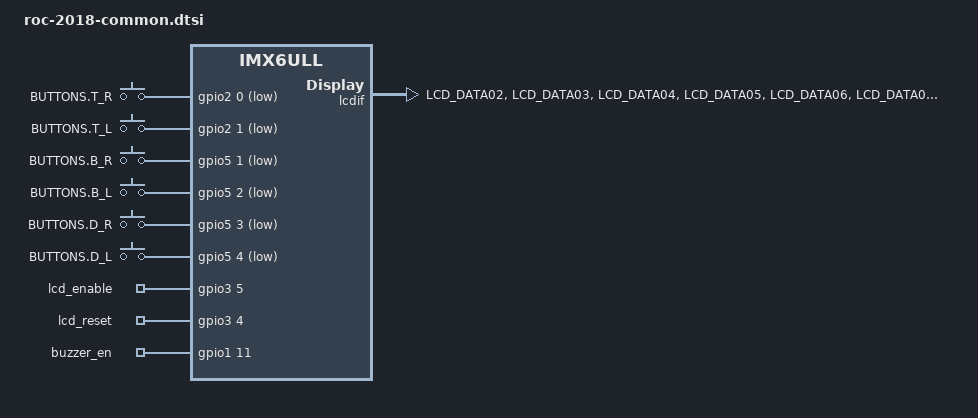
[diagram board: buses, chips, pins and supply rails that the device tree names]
/*
 * Copyright (C) 2020 CompeGPS Team S.L.
 * All rights reserved
 *
 */
/dts-v1/;

#include <dt-bindings/input/input.h>
#include "imx6ull.dtsi"
#include "imx6ul-imx6ull-var-dart-common.dtsi" // BUZZER PWM IS HERE
#include "wireless-murata-sd8987.dtsi"

/ {
	keys {
		compatible = "gpio-keys";
		pinctrl-names = "default";
		pinctrl-0 = <&pinctrl_keys>;

		button_tr {
			label = "BUTTONS.T_R";
			gpios = <&gpio2 0 GPIO_ACTIVE_LOW>;
			linux,code = <KEY_F1>;
			gpio-key,wakeup;
		};

		button_tl {
			label = "BUTTONS.T_L";
			gpios = <&gpio2 1 GPIO_ACTIVE_LOW>;
			linux,code = <KEY_F2>;
			gpio-key,wakeup;
		};

		button_br {
			label = "BUTTONS.B_R";
			gpios = <&gpio5 1 GPIO_ACTIVE_LOW>;
			linux,code = <KEY_F4>;
			gpio-key,wakeup;
		};

		button_bl {
			label = "BUTTONS.B_L";
			gpios = <&gpio5 2 GPIO_ACTIVE_LOW>;
			linux,code = <KEY_F3>;
			gpio-key,wakeup;
		};	

		button_dr {
			label = "BUTTONS.D_R";
			gpios = <&gpio5 3 GPIO_ACTIVE_LOW>;
			linux,code = <KEY_F5>;
			gpio-key,wakeup;
		};

		button_dl {
			label = "BUTTONS.D_L";
			gpios = <&gpio5 4 GPIO_ACTIVE_LOW>;
			linux,code = <KEY_F6>;
			gpio-key,wakeup;
		};	
	};

	init-gpios-roc {
		compatible = "gpio-leds";
		pinctrl-names = "default";
		pinctrl-0 = <&pinctrl_roc>;

		lcd_enable {
			label = "lcd_enable";
			gpios = <&gpio3 5 GPIO_ACTIVE_HIGH>;
			default-state = "on";
		};
		lcd_reset {
			label = "lcd_reset";
			gpios = <&gpio3 4 GPIO_ACTIVE_HIGH>;
			default-state = "on";
		};
		buzzer_en {
			label = "buzzer_en";
			gpios = <&gpio1 11 GPIO_ACTIVE_HIGH>;
			default-state = "off"; // Check consumption
		};
	};

};

&lcdif {
	pinctrl-names = "default";
	pinctrl-0 = <&pinctrl_lcdif_dat
		     &pinctrl_lcdif_ctrl>;
	display = <&display0>;
	status = "okay";

	display0: display {
		bits-per-pixel = <32>;
		bus-width = <24>;
		
		display-timings {
			native-mode = <&timing0>;
			timing0: timing0 {
				clock-frequency =<24000000>;
				hactive = <240>;
				vactive = <320>;
				hfront-porch = <10>;
				hback-porch = <8>;
				hsync-len = <32>;
				vback-porch = <13>;
				vfront-porch = <13>;
				vsync-len = <5>;
				hsync-active = <0>;
				vsync-active = <0>;
				de-active = <1>;
				pixelclk-active = <0>;
			};
		};
	};
};



&iomuxc {
	imx6ul-evk {	
		pinctrl_roc: rocgrp {
			fsl,pins = <
				MX6UL_PAD_JTAG_TMS__GPIO1_IO11		0x1b0b0	/* BUZZER_EN */
				MX6UL_PAD_LCD_RESET__GPIO3_IO04		0x1b0b1
				MX6UL_PAD_LCD_DATA00__GPIO3_IO05	0x1b0b1
			>;			
		};
		
		pinctrl_lcdif_ctrl: lcdifctrlgrp {
			fsl,pins = <
				MX6UL_PAD_LCD_CLK__LCDIF_CLK		0x79
				MX6UL_PAD_LCD_ENABLE__LCDIF_ENABLE	0x79
				MX6UL_PAD_LCD_HSYNC__LCDIF_HSYNC	0x79
				MX6UL_PAD_LCD_VSYNC__LCDIF_VSYNC	0x79
			>;
		};

		pinctrl_lcdif_dat: lcdifdatgrp {
			fsl,pins = <
				MX6UL_PAD_LCD_DATA02__LCDIF_DATA02	0x79
				MX6UL_PAD_LCD_DATA03__LCDIF_DATA03	0x79
				MX6UL_PAD_LCD_DATA04__LCDIF_DATA04	0x79
				MX6UL_PAD_LCD_DATA05__LCDIF_DATA05	0x79
				MX6UL_PAD_LCD_DATA06__LCDIF_DATA06	0x79
				MX6UL_PAD_LCD_DATA07__LCDIF_DATA07	0x79
				MX6UL_PAD_LCD_DATA10__LCDIF_DATA10	0x79
				MX6UL_PAD_LCD_DATA11__LCDIF_DATA11	0x79
				MX6UL_PAD_LCD_DATA12__LCDIF_DATA12	0x79
				MX6UL_PAD_LCD_DATA13__LCDIF_DATA13	0x79
				MX6UL_PAD_LCD_DATA14__LCDIF_DATA14	0x79
				MX6UL_PAD_LCD_DATA15__LCDIF_DATA15	0x79
				MX6UL_PAD_LCD_DATA18__LCDIF_DATA18	0x79
				MX6UL_PAD_LCD_DATA19__LCDIF_DATA19	0x79
				MX6UL_PAD_LCD_DATA20__LCDIF_DATA20	0x79
				MX6UL_PAD_LCD_DATA21__LCDIF_DATA21	0x79
				MX6UL_PAD_LCD_DATA22__LCDIF_DATA22	0x79
				MX6UL_PAD_LCD_DATA23__LCDIF_DATA23	0x79
			>;
		};
	
		pinctrl_keys: keys1grp {
			fsl,pins = <
				MX6UL_PAD_ENET1_RX_DATA1__GPIO2_IO01	0x1b0b0 
				MX6UL_PAD_ENET1_RX_DATA0__GPIO2_IO00	0x1b0b0 
				MX6UL_PAD_SNVS_TAMPER1__GPIO5_IO01		0x110b0
				MX6UL_PAD_SNVS_TAMPER2__GPIO5_IO02		0x110b0
				MX6UL_PAD_SNVS_TAMPER3__GPIO5_IO03		0x110b0
				MX6UL_PAD_SNVS_TAMPER4__GPIO5_IO04		0x110b0				
			>;
		};	
	};
};	

